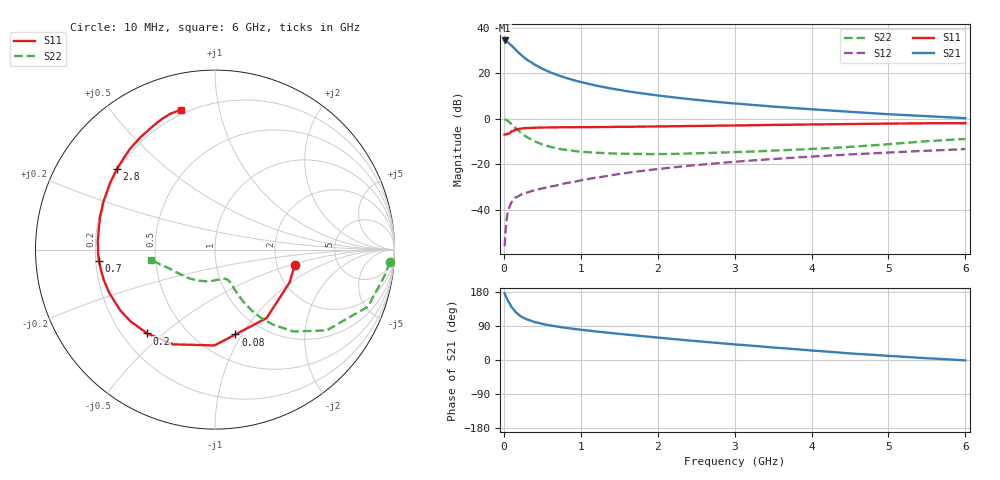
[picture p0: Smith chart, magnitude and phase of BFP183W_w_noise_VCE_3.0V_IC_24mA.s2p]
! Infineon Technologies  Discrete & RF Semiconductors
! BFP183W
! VCE =  3.0 V,  IC =  24 mA
! Common Emitter S-Parameters:  Jan 2017
# GHz  S  MA  R  50
!  f  S11  S21  S12  S22
! GHz  MAG  ANG  MAG  ANG  MAG  ANG  MAG  ANG
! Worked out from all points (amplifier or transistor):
!   77 points, 10 MHz to 6 GHz, reference 50 ohm
!   highest |S21| = 34.4 dB at 10 MHz (marker M1)
!   |S21| within 3 dB of that: start of sweep to 122.3 MHz
!   unconditionally stable (mu >= 1): 1.022 GHz to 3.496 GHz
!   at 130 MHz: K = 0.27, MSG = 33.3 dB, |S12| = -35.4 dB
!   at 2.2 GHz: K = 1.07, MAG = 13.8 dB, |S12| = -21.4 dB
!   at 6 GHz: K = 0.88, MSG = 6.8 dB, |S12| = -13.3 dB
!   lowest NFmin = 1.27 dB at 450 MHz
!   S11 on the Smith chart (normalised r, x): 10 MHz: 2.52, -0.54; 80 MHz: 0.76, -0.94; 200 MHz: 0.30, -0.44; 700 MHz: 0.21, -0.05; 2.8 GHz: 0.19, +0.35; 6 GHz: 0.18, +0.77
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0.01  0.453 -10.8  52.38 176.0  0.0016 95.7  0.9766 -4.1
0.02  0.454 -23.9  51.82 170.6  0.0031 94.4  0.958 -8.4
0.05  0.4776 -53.0  48.39 157.5  0.0089 72.7  0.91 -20.4
0.08  0.4863 -76.5  43.16 147.5  0.0124 64.4  0.8168 -29.1
0.1  0.534 -90.3  40.55 139.6  0.0148 61.1  0.7672 -36.0
0.15  0.5772 -113.9  33.23 127.2  0.0186 52.6  0.632 -46.2
0.2  0.6006 -128.9  27.44 118.3  0.0203 48.4  0.5294 -52.3
0.25  0.6172 -139.5  23.15 111.8  0.0232 44.8  0.4527 -56.3
0.3  0.6271 -147.1  19.86 107.1  0.024 45.0  0.395 -59.0
0.4  0.6364 -157.6  15.43 100.1  0.0271 47.0  0.32 -61.8
0.5  0.6425 -164.7  12.52 95.3  0.0296 48.3  0.2735 -63.1
0.6  0.6455 -170.1  10.55 91.3  0.0322 50.6  0.2432 -63.9
0.7  0.6493 -174.3  9.079 88.1  0.0348 52.9  0.2217 -64.2
0.9  0.6519 178.8  7.09 82.3  0.0408 55.7  0.1981 -65.4
1.1  0.655 173.2  5.842 77.6  0.0479 57.4  0.1844 -66.8
1.5  0.6662 164.2  4.302 69.0  0.0614 59.5  0.1716 -71.7
2.1  0.6818 152.4  3.105 57.3  0.0822 59.1  0.1689 -84.5
2.8  0.7073 140.7  2.323 44.6  0.1066 56.9  0.1811 -103.0
3.1  0.7163 136.2  2.102 39.7  0.1171 55.1  0.1877 -111.0
4.1  0.7538 122.3  1.577 23.6  0.1515 49.6  0.2218 -136.6
5.1  0.786 111.8  1.234 9.7  0.1849 43.4  0.2857 -159.7
6  0.8017 103.8  1.032 -1.0  0.2159 37.3  0.3611 -171.2
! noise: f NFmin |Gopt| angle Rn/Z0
0.45  1.27  0.23  176  0.1
0.9  1.29  0.27  178  0.09
1.9  1.78  0.43  -159  0.09
2.4  2.01  0.47  -154  0.13
